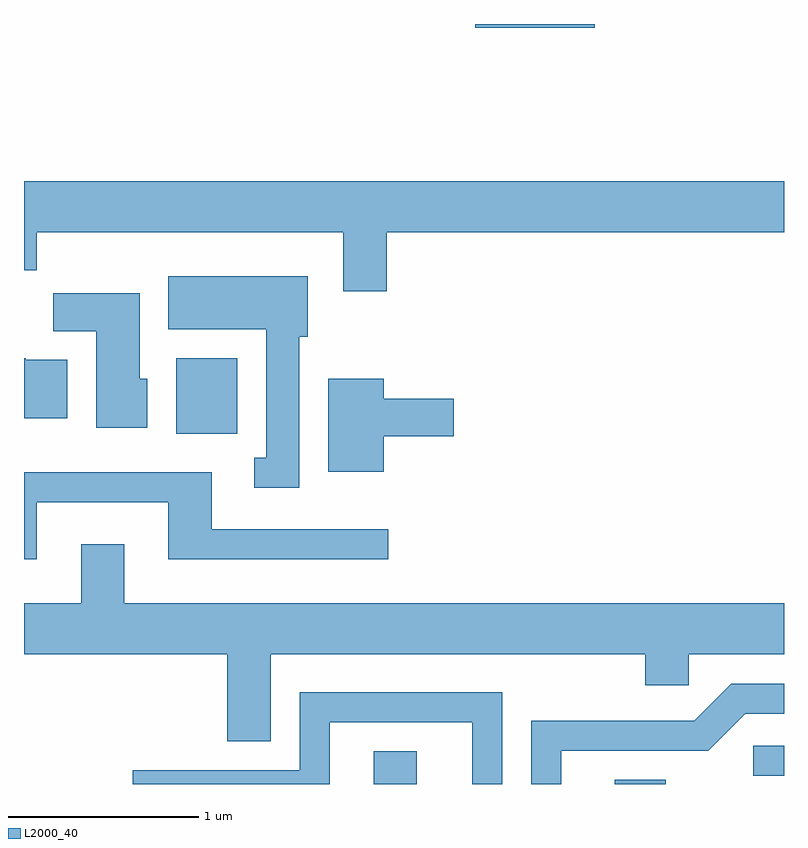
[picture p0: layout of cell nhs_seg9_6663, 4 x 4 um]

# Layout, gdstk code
import gdstk
lib = gdstk.Library(unit=1e-6, precision=1e-09)
def R(c, l, rs):  # rectangles x0, y0, x1, y1
    for r in rs: c.add(gdstk.rectangle(r[:2], r[2:], *l))
def P(c, l, *ps):  # polygons
    for p in ps: c.add(gdstk.Polygon(p, *l))
L2000_40 = (2000, 40)

nhs_seg9_6663 = lib.new_cell('nhs_seg9_6663')
R(nhs_seg9_6663, L2000_40, [(383.451,2024.432,383.679,2024.604), (384.721,2024.432,384.989,2024.454), (385.448,2024.476,385.611,2024.634), (382.411,2026.276,382.734,2026.674), (383.986,2028.411,384.614,2028.432)])
P(nhs_seg9_6663, L2000_40, [(383.519,2027.336),(385.611,2027.336),(385.611,2027.604),(381.611,2027.604),(381.611,2027.136),(381.679,2027.136),(381.679,2027.336),(383.291,2027.336),(383.291,2027.026),(383.519,2027.026)],
  [(383.059,2026.786),(383.104,2026.786),(383.104,2027.104),(382.371,2027.104),(382.371,2026.826),(382.886,2026.826),(382.886,2026.149),(382.823,2026.149),(382.823,2025.991),(383.059,2025.991)],
  [(382.259,2026.564),(382.219,2026.564),(382.219,2027.014),(381.766,2027.014),(381.766,2026.816),(381.991,2026.816),(381.991,2026.306),(382.259,2026.306)],
  [(381.839,2026.664),(381.62,2026.664),(381.62,2026.674),(381.611,2026.674),(381.611,2026.356),(381.839,2026.356)],
  [(383.504,2026.261),(383.874,2026.261),(383.874,2026.459),(383.504,2026.459),(383.504,2026.564),(383.211,2026.564),(383.211,2026.076),(383.504,2026.076)],
  [(381.679,2025.916),(382.371,2025.916),(382.371,2025.616),(383.528,2025.616),(383.528,2025.774),(382.599,2025.774),(382.599,2026.074),(381.611,2026.074),(381.611,2025.616),(381.679,2025.616)],
  [(382.909,2025.116),(384.881,2025.116),(384.881,2024.951),(385.109,2024.951),(385.109,2025.116),(385.611,2025.116),(385.611,2025.384),(382.139,2025.384),(382.139,2025.694),(381.911,2025.694),(381.911,2025.384),(381.611,2025.384),(381.611,2025.116),(382.681,2025.116),(382.681,2024.656),(382.909,2024.656)],
  [(384.439,2024.606),(385.212,2024.606),(385.407,2024.801),(385.611,2024.801),(385.611,2024.959),(385.334,2024.959),(385.139,2024.764),(384.281,2024.764),(384.281,2024.432),(384.439,2024.432)],
  [(383.219,2024.756),(383.971,2024.756),(383.971,2024.432),(384.129,2024.432),(384.129,2024.914),(383.061,2024.914),(383.061,2024.504),(382.183,2024.504),(382.183,2024.432),(383.219,2024.432)])

lib.write_gds('nhs_seg9_6663.gds')
